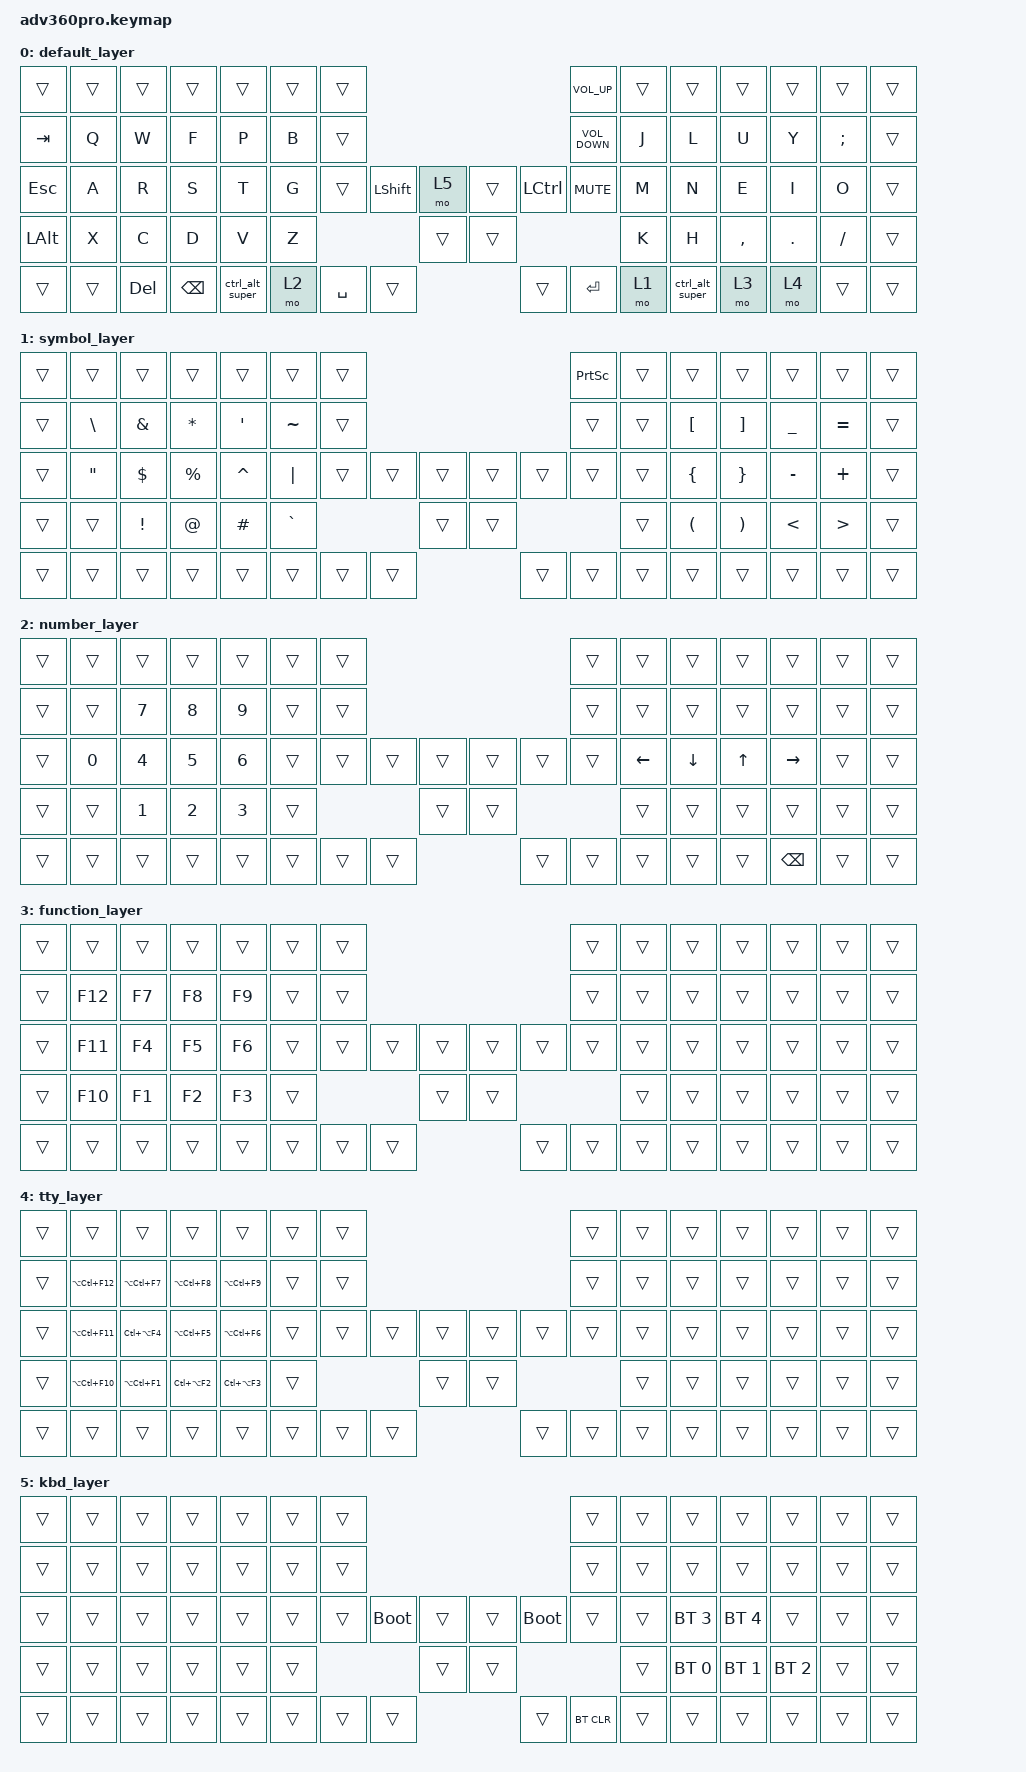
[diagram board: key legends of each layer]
#include <behaviors.dtsi>
#include <dt-bindings/zmk/bt.h>
#include <dt-bindings/zmk/keys.h>

/ {
    combos {
        compatible = "zmk,combos";

        toggle_gaming_combo {
            bindings = <&tog 0>;
            key-positions = <75 60>;
        };
    };

    macros {
        ctrl_alt_super: ctrl_alt_super {
            compatible = "zmk,behavior-macro";
            #binding-cells = <0>;
            bindings = <&kp LA(LEFT_CONTROL) &kp LEFT_GUI>;
            label = "CTRL_ALT_SUPER";
        };
    };

    keymap {
        compatible = "zmk,keymap";

        default_layer {
            bindings = <
&trans        &trans  &trans   &trans    &trans           &trans  &trans                                                                    &kp C_VOLUME_UP    &trans  &trans           &trans     &trans   &trans    &trans
&kp TAB       &kp Q   &kp W    &kp F     &kp P            &kp B   &trans                                                                    &kp C_VOLUME_DOWN  &kp J   &kp L            &kp U      &kp Y    &kp SEMI  &trans
&kp ESCAPE    &kp A   &kp R    &kp S     &kp T            &kp G   &trans         &kp LEFT_SHIFT  &mo 5     &trans  &kp LEFT_CONTROL         &kp C_MUTE         &kp M   &kp N            &kp E      &kp I    &kp O     &trans
&kp LEFT_ALT  &kp X   &kp C    &kp D     &kp V            &kp Z                                  &trans    &trans                                              &kp K   &kp H            &kp COMMA  &kp DOT  &kp FSLH  &trans
&trans        &trans  &kp DEL  &kp BSPC  &ctrl_alt_super                  &mo 2  &kp SPACE       &trans    &trans  &kp RETURN        &mo 1                             &ctrl_alt_super  &mo 3      &mo 4    &trans    &trans
            >;
        };

        symbol_layer {
            bindings = <
&trans  &trans             &trans           &trans        &trans          &trans     &trans                                                    &kp PRINTSCREEN  &trans  &trans                &trans                 &trans          &trans            &trans
&trans  &kp BACKSLASH      &kp AMPERSAND    &kp ASTERISK  &kp APOSTROPHE  &kp TILDE  &trans                                                    &trans           &trans  &kp LEFT_BRACKET      &kp RIGHT_BRACKET      &kp UNDERSCORE  &kp EQUAL         &trans
&trans  &kp DOUBLE_QUOTES  &kp DOLLAR       &kp PERCENT   &kp CARET       &kp PIPE   &trans          &trans  &trans    &trans  &trans          &trans           &trans  &kp LEFT_BRACE        &kp RIGHT_BRACE        &kp MINUS       &kp PLUS          &trans
&trans  &trans             &kp EXCLAMATION  &kp AT_SIGN   &kp HASH        &kp GRAVE                          &trans    &trans                                   &trans  &kp LEFT_PARENTHESIS  &kp RIGHT_PARENTHESIS  &kp LESS_THAN   &kp GREATER_THAN  &trans
&trans  &trans             &trans           &trans        &trans                             &trans  &trans  &trans    &trans  &trans  &trans                           &trans                &trans                 &trans          &trans            &trans
            >;
        };

        number_layer {
            bindings = <
&trans  &trans  &trans  &trans  &trans  &trans  &trans                                                    &trans  &trans    &trans    &trans        &trans         &trans  &trans
&trans  &trans  &kp N7  &kp N8  &kp N9  &trans  &trans                                                    &trans  &trans    &trans    &trans        &trans         &trans  &trans
&trans  &kp N0  &kp N4  &kp N5  &kp N6  &trans  &trans          &trans  &trans    &trans  &trans          &trans  &kp LEFT  &kp DOWN  &kp UP_ARROW  &kp RIGHT      &trans  &trans
&trans  &trans  &kp N1  &kp N2  &kp N3  &trans                          &trans    &trans                          &trans    &trans    &trans        &trans         &trans  &trans
&trans  &trans  &trans  &trans  &trans                  &trans  &trans  &trans    &trans  &trans  &trans                    &trans    &trans        &kp BACKSPACE  &trans  &trans
            >;
        };

        function_layer {
            bindings = <
&trans  &trans   &trans  &trans  &trans  &trans  &trans                                                    &trans  &trans  &trans  &trans  &trans  &trans  &trans
&trans  &kp F12  &kp F7  &kp F8  &kp F9  &trans  &trans                                                    &trans  &trans  &trans  &trans  &trans  &trans  &trans
&trans  &kp F11  &kp F4  &kp F5  &kp F6  &trans  &trans          &trans  &trans    &trans  &trans          &trans  &trans  &trans  &trans  &trans  &trans  &trans
&trans  &kp F10  &kp F1  &kp F2  &kp F3  &trans                          &trans    &trans                          &trans  &trans  &trans  &trans  &trans  &trans
&trans  &trans   &trans  &trans  &trans                  &trans  &trans  &trans    &trans  &trans  &trans                  &trans  &trans  &trans  &trans  &trans
            >;
        };

        tty_layer {
            bindings = <
&trans  &trans           &trans          &trans          &trans          &trans  &trans                                                    &trans  &trans  &trans  &trans  &trans  &trans  &trans
&trans  &kp LA(LC(F12))  &kp LA(LC(F7))  &kp LA(LC(F8))  &kp LA(LC(F9))  &trans  &trans                                                    &trans  &trans  &trans  &trans  &trans  &trans  &trans
&trans  &kp LA(LC(F11))  &kp LC(LA(F4))  &kp LA(LC(F5))  &kp LA(LC(F6))  &trans  &trans          &trans  &trans    &trans  &trans          &trans  &trans  &trans  &trans  &trans  &trans  &trans
&trans  &kp LA(LC(F10))  &kp LA(LC(F1))  &kp LC(LA(F2))  &kp LC(LA(F3))  &trans                          &trans    &trans                          &trans  &trans  &trans  &trans  &trans  &trans
&trans  &trans           &trans          &trans          &trans                          &trans  &trans  &trans    &trans  &trans  &trans                  &trans  &trans  &trans  &trans  &trans
            >;
        };

        kbd_layer {
            bindings = <
&trans  &trans  &trans  &trans  &trans  &trans  &trans                                                              &trans  &trans  &trans        &trans        &trans        &trans  &trans
&trans  &trans  &trans  &trans  &trans  &trans  &trans                                                              &trans  &trans  &trans        &trans        &trans        &trans  &trans
&trans  &trans  &trans  &trans  &trans  &trans  &trans          &bootloader  &trans    &trans  &bootloader          &trans  &trans  &bt BT_SEL 3  &bt BT_SEL 4  &trans        &trans  &trans
&trans  &trans  &trans  &trans  &trans  &trans                               &trans    &trans                               &trans  &bt BT_SEL 0  &bt BT_SEL 1  &bt BT_SEL 2  &trans  &trans
&trans  &trans  &trans  &trans  &trans                  &trans  &trans       &trans    &trans  &bt BT_CLR   &trans                  &trans        &trans        &trans        &trans  &trans
            >;
        };
    };
};
